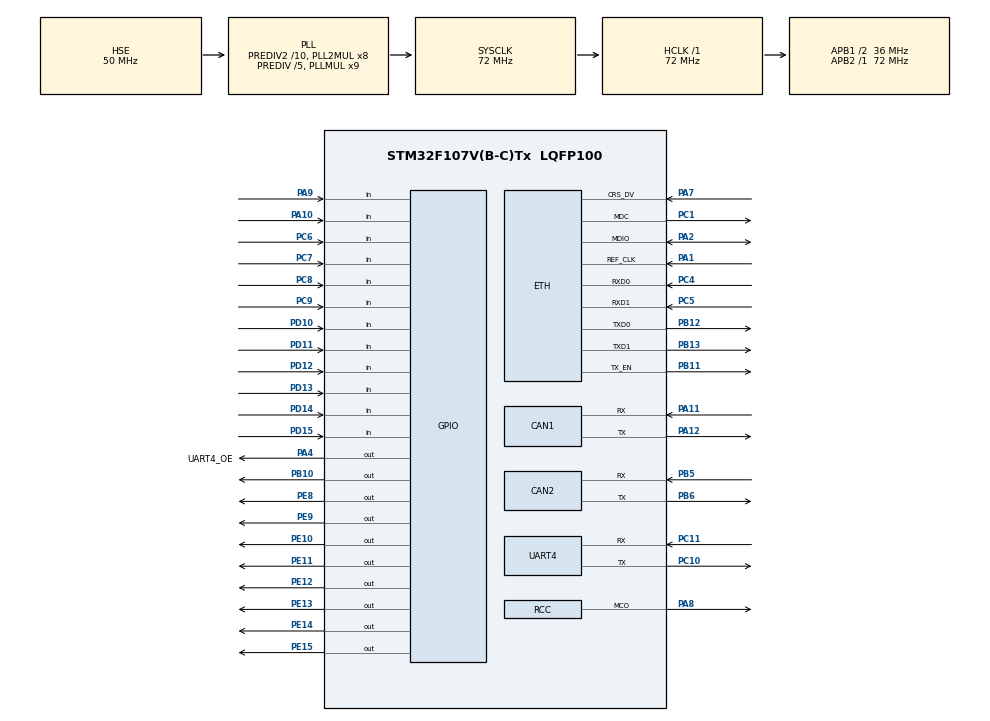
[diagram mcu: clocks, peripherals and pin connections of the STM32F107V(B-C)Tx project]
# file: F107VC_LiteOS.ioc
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CAN1.BS1=CAN_BS1_1TQ
CAN1.BS2=CAN_BS2_1TQ
CAN1.CalculateTimeBit=1333
CAN1.CalculateTimeQuantum=444.44444444444446
CAN2.BS1=CAN_BS1_1TQ
CAN2.BS2=CAN_BS2_1TQ
CAN2.CalculateTimeBit=1333
CAN2.CalculateTimeQuantum=444.44444444444446
ETH.AutoNegotiation=ETH_AUTONEGOTIATION_ENABLE
ETH.MediaInterface=ETH_MEDIA_INTERFACE_RMII
ETH.PHY_Name_RMII=DP83848_PHY_ADDRESS
ETH.RxMode=ETH_RXINTERRUPT_MODE
Mcu.Family=STM32F1
Mcu.Name=STM32F107V(B-C)Tx
Mcu.Package=LQFP100
NVIC.ETH_IRQn=true\:0\:0\:false\:false\:true\:false\:true
NVIC.PriorityGroup=NVIC_PRIORITYGROUP_4
OSC_IN.Mode=HSE-External-Clock-Source
OSC_IN.Signal=RCC_OSC_IN
OSC_OUT.Mode=HSE-External-Clock-Source
OSC_OUT.Signal=RCC_OSC_OUT
PA1.Mode=RMII
PA1.Signal=ETH_REF_CLK
PA10.Signal=GPIO_Input
PA11.Mode=Master
PA11.Signal=CAN1_RX
PA12.Mode=Master
PA12.Signal=CAN1_TX
PA13.Mode=Serial_Wire
PA13.Signal=SYS_JTMS-SWDIO
PA14.Mode=Serial_Wire
PA14.Signal=SYS_JTCK-SWCLK
PA2.Mode=RMII
PA2.Signal=ETH_MDIO
PA4.GPIO_Label=UART4_OE
PA4.Signal=GPIO_Output
PA7.Mode=RMII
PA7.Signal=ETH_CRS_DV
PA8.GPIO_Speed=GPIO_SPEED_FREQ_HIGH
PA8.Mode=Clock-out
PA8.Signal=RCC_MCO
PA9.Signal=GPIO_Input
PB10.Signal=GPIO_Output
PB11.Mode=RMII
PB11.Signal=ETH_TX_EN
PB12.Mode=RMII
PB12.Signal=ETH_TXD0
PB13.Mode=RMII
PB13.Signal=ETH_TXD1
PB5.Mode=Slave
PB5.Signal=CAN2_RX
PB6.Mode=Slave
PB6.Signal=CAN2_TX
PC1.Mode=RMII
PC1.Signal=ETH_MDC
PC10.Mode=Asynchronous
PC10.Signal=UART4_TX
PC11.Mode=Asynchronous
PC11.Signal=UART4_RX
PC4.Mode=RMII
PC4.Signal=ETH_RXD0
PC5.Mode=RMII
PC5.Signal=ETH_RXD1
PC6.Signal=GPIO_Input
PC7.Signal=GPIO_Input
PC8.Signal=GPIO_Input
PC9.Signal=GPIO_Input
PD10.Signal=GPIO_Input
PD11.Signal=GPIO_Input
PD12.Signal=GPIO_Input
PD13.Signal=GPIO_Input
PD14.Signal=GPIO_Input
PD15.Signal=GPIO_Input
PE10.Signal=GPIO_Output
PE11.Signal=GPIO_Output
PE12.Signal=GPIO_Output
PE13.Signal=GPIO_Output
PE14.Signal=GPIO_Output
PE15.Signal=GPIO_Output
PE8.Signal=GPIO_Output
PE9.Signal=GPIO_Output
ProjectManager.HeapSize=0x200
ProjectManager.StackSize=0x400
ProjectManager.TargetToolchain=STM32CubeIDE
RCC.AHBFreq_Value=72000000
RCC.APB1CLKDivider=RCC_HCLK_DIV2
RCC.APB1Freq_Value=36000000
RCC.APB1TimFreq_Value=72000000
RCC.APB2Freq_Value=72000000
RCC.APB2TimFreq_Value=72000000
RCC.HCLKFreq_Value=72000000
RCC.HSEDivPLL=RCC_HSE_PREDIV_DIV5
RCC.HSE_VALUE=50000000
RCC.PLLMUL=RCC_PLL_MUL9
RCC.PLLSourceVirtual=RCC_PLLSOURCE_HSE
RCC.Prediv1Source=RCC_PREDIV1_SOURCE_PLL2
RCC.Prediv2=RCC_HSE_PREDIV2_DIV10
RCC.RCC_MCOSource=RCC_MCO1SOURCE_EXT_HSE
RCC.SYSCLKFreq_VALUE=72000000
RCC.SYSCLKSource=RCC_SYSCLKSOURCE_PLLCLK
RCC.USBFreq_Value=48000000
UART4.VirtualMode=Asynchronous
VP_IWDG_VS_IWDG.Mode=IWDG_Activate
board=custom

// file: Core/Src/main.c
/* USER CODE BEGIN Header */
/**
  ******************************************************************************
  * @file           : main.c
  * @brief          : Main program body
  ******************************************************************************
  * @attention
  *
  * <h2><center>&copy; Copyright (c) 2020 STMicroelectronics.
  * All rights reserved.</center></h2>
  *
  * This software component is licensed by ST under BSD 3-Clause license,
  * the "License"; You may not use this file except in compliance with the
  * License. You may obtain a copy of the License at:
  *                        opensource.org/licenses/BSD-3-Clause
  *
  ******************************************************************************
  */
/* USER CODE END Header */

#include "main.h"
#include "can.h"
#include "eth.h"
#include "iwdg.h"
#include "usart.h"
#include "gpio.h"

/* USER CODE BEGIN Includes */
#include "ethernetif.h"

#include "los_base.h"
#include "los_devfs.h"
#include "los_sys.h"
#include "los_task.h"
#include "los_typedef.h"
#include "los_vfs.h"
#include "serial.h"
#include "sys/fcntl.h"
/* USER CODE END Includes */

/* USER CODE BEGIN PV */
UINT32 g_uwMainTaskID;
/* USER CODE END PV */

void SystemClock_Config(void);
/* USER CODE BEGIN PFP */
extern void LwIP_init(void);
/* USER CODE END PFP */

/* USER CODE BEGIN 0 */
void mainTask(void)
{
	uint8_t buf[3];
    int fd;
    LwIP_init();

    fd = open("/dev/uart4", O_RDWR);
    write(fd, "123", 3);
    read(fd,  buf, 3);

    for (;;) {
        LOS_TaskDelay(100);
    }
}

UINT32 createMainTask(void)
{
    UINT32 uwRet = LOS_OK;
    TSK_INIT_PARAM_S task;

    task.usTaskPrio = 1;
    task.pcName = "main_task";
    task.pfnTaskEntry = (TSK_ENTRY_FUNC)mainTask;
    task.uwStackSize = 1024;

    uwRet = LOS_TaskCreate(&g_uwMainTaskID, &task);
    if (LOS_OK != uwRet) {
        return uwRet;
    }
    return uwRet;
}
/* USER CODE END 0 */

int main(void)
{
  /* USER CODE BEGIN 1 */
    UINT32 uwRet = LOS_OK;
  /* USER CODE END 1 */

  /* MCU Configuration--------------------------------------------------------*/

  /* Reset of all peripherals, Initializes the Flash interface and the Systick. */
  HAL_Init();

  /* Configure the system clock */
  SystemClock_Config();

  /* Initialize all configured peripherals */
  MX_GPIO_Init();
  MX_CAN1_Init();
  MX_CAN2_Init();
  MX_UART4_Init();
  /* USER CODE BEGIN 2 */
    uwRet = LOS_KernelInit();
    if (LOS_OK != uwRet) {
        return LOS_NOK;
    }

    los_vfs_init();

    uwRet = los_devfs_init();
    if (LOS_OK != uwRet) {
        return LOS_NOK;
    }

    serial_init();
    (void)createMainTask();
    (void)LOS_Start();
  /* USER CODE END 2 */

  /* Infinite loop */
    while (1) {

    }
}

void SystemClock_Config(void)
{
  RCC_OscInitTypeDef RCC_OscInitStruct = {0};
  RCC_ClkInitTypeDef RCC_ClkInitStruct = {0};

  /** Initializes the CPU, AHB and APB busses clocks
  */
  RCC_OscInitStruct.OscillatorType = RCC_OSCILLATORTYPE_LSI|RCC_OSCILLATORTYPE_HSE;
  RCC_OscInitStruct.HSEState = RCC_HSE_BYPASS;
  RCC_OscInitStruct.HSEPredivValue = RCC_HSE_PREDIV_DIV5;
  RCC_OscInitStruct.HSIState = RCC_HSI_ON;
  RCC_OscInitStruct.LSIState = RCC_LSI_ON;
  RCC_OscInitStruct.Prediv1Source = RCC_PREDIV1_SOURCE_PLL2;
  RCC_OscInitStruct.PLL.PLLState = RCC_PLL_ON;
  RCC_OscInitStruct.PLL.PLLSource = RCC_PLLSOURCE_HSE;
  RCC_OscInitStruct.PLL.PLLMUL = RCC_PLL_MUL9;
  RCC_OscInitStruct.PLL2.PLL2State = RCC_PLL2_ON;
  RCC_OscInitStruct.PLL2.PLL2MUL = RCC_PLL2_MUL8;
  RCC_OscInitStruct.PLL2.HSEPrediv2Value = RCC_HSE_PREDIV2_DIV10;
  if (HAL_RCC_OscConfig(&RCC_OscInitStruct) != HAL_OK)
  {
    Error_Handler();
  }
  /** Initializes the CPU, AHB and APB busses clocks
  */
  RCC_ClkInitStruct.ClockType = RCC_CLOCKTYPE_HCLK|RCC_CLOCKTYPE_SYSCLK
                              |RCC_CLOCKTYPE_PCLK1|RCC_CLOCKTYPE_PCLK2;
  RCC_ClkInitStruct.SYSCLKSource = RCC_SYSCLKSOURCE_PLLCLK;
  RCC_ClkInitStruct.AHBCLKDivider = RCC_SYSCLK_DIV1;
  RCC_ClkInitStruct.APB1CLKDivider = RCC_HCLK_DIV2;
  RCC_ClkInitStruct.APB2CLKDivider = RCC_HCLK_DIV1;

  if (HAL_RCC_ClockConfig(&RCC_ClkInitStruct, FLASH_LATENCY_2) != HAL_OK)
  {
    Error_Handler();
  }
  HAL_RCC_MCOConfig(RCC_MCO, RCC_MCO1SOURCE_EXT_HSE, RCC_MCODIV_1);
  /** Configure the Systick interrupt time
  */
  __HAL_RCC_PLLI2S_ENABLE();
}

void Error_Handler(void)
{
}

/************************ (C) COPYRIGHT STMicroelectronics *****END OF FILE****/
